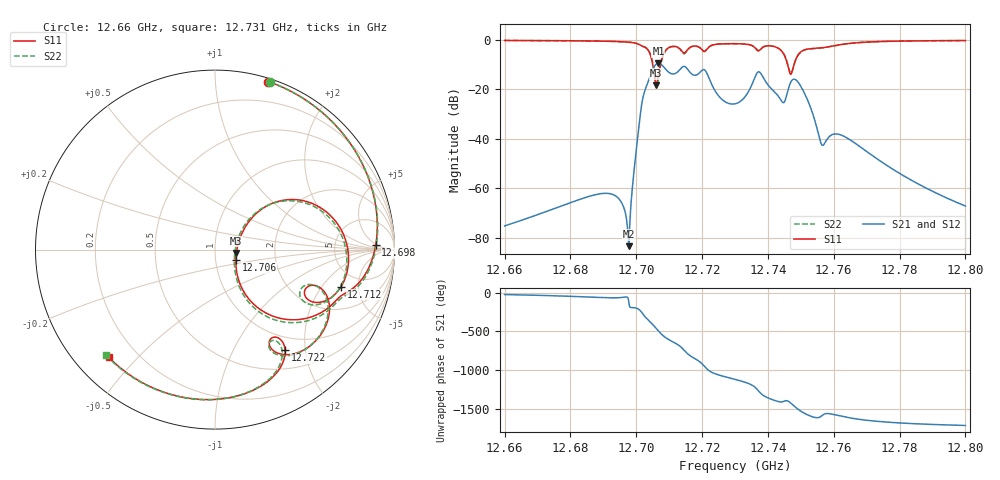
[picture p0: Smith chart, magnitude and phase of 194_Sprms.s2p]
! TOUCHSTONE file generated by CST MICROWAVE STUDIO
! Date and time: Wed Jul 31 20:44:03 2024
! Project name: WaveGuide_BPF-Ver4.1_U-shape_Ku_T3_C4_CWA_2.cst
! Parameters = {cavity_h=16; cavity_l0=10; cavity_l1=15.1944; cavity_l2=16.8119; cavity_l3=17.1399; cavity_l4=17.2427; cavity_l5=17.1623; cavity_l6=17.6262; cavity_r=2.5; cavity_screw_l=0.5; cavity_screw_r=1.5; cavity_w=8; iris_h00=0; iris_h01=8.8237; iris_h112=0; iris_h12=5.5867; iris_h211=3.6587; 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
! Header version: 2018
! Port assignment regex: !\s*Touchstone port\s*([0-9]+)\s*=\s*(CST MWS port|CST DS port)\s*([0-9]+|Zmin|Zmax)\s*\(\"(.*)\"\)(\s*mode\s*([0-9]+))?.*
! Touchstone port assignment:
! Touchstone port 1 = CST MWS port 1 ("")
! Touchstone port 2 = CST MWS port 2 ("")
# GHz S RI R 50
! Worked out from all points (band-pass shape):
!   5001 points, 12.66 GHz to 12.8 GHz, reference 50 ohm
!   highest |S21| = -9.39 dB at 12.707 GHz (marker M1); lowest = -83.5 dB at 12.698 GHz (marker M2)
!   |S21| within 3 dB of the highest: 12.70483 GHz to 12.70934 GHz (4.513 MHz wide, 0.0355 % of centre); 12.71295 GHz to 12.71592 GHz (2.972 MHz wide, 0.0234 % of centre) (the widest 2 of 3)
!   lowest |S11| = -18.4 dB at 12.706 GHz (marker M3), VSWR 1.27, Z = 63.4 - j2.5 ohm
!   |S11| at or under -10 dB: 12.70503 GHz to 12.70726 GHz (2.235 MHz wide, 0.0176 % of centre); 12.746 GHz to 12.74792 GHz (1.918 MHz wide, 0.015 % of centre)
!   |S22| runs from -19.1 to -0.2 dB; largest |S21 - S12| = 1e-09
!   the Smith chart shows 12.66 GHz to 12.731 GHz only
!   S11 on the Smith chart (normalised r, x): 12.66 GHz: 0.03, +1.37; 12.698 GHz: 17, +4; 12.706 GHz: 1.25, -0.15; 12.712 GHz: 3.54, -3.15; 12.722 GHz: 0.78, -1.63; 12.731 GHz: 0.10, -0.41
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12.66  0.2972 0.9362  0.00016 -6.3e-05  0.00016 -6.3e-05  0.3062 0.9332
12.68335  0.6864 0.6766  0.000395 -0.000465  0.000395 -0.000465  0.6961 0.6663
12.69772  0.9023 0.0825  -3.37e-05 -5.79e-05  -3.37e-05 -5.79e-05  0.9038 0.063
12.69844  0.8953 0.025  -0.000513 9.14e-05  -0.000513 9.14e-05  0.8958 0.00548
12.7018  0.709 -0.2526  -0.0084 0.0567  -0.0084 0.0567  0.7071 -0.268
12.70589  0.116 -0.0578  -0.0167 -0.3178  -0.0167 -0.3178  0.1098 -0.1068
12.70606  0.1189 -0.0194  -0.064 -0.3194  -0.064 -0.3194  0.1075 -0.0688
12.70668  0.1592 0.1089  -0.2234 -0.2551  -0.2234 -0.2551  0.1302 0.067
12.70673  0.165 0.1196  -0.235 -0.2446  -0.235 -0.2446  0.1348 0.0789
12.71225  0.7023 -0.2065  0.1107 0.1877  0.1107 0.1877  0.6881 -0.2234
12.72174  0.3904 -0.5608  0.0189 0.1929  0.0189 0.1929  0.3751 -0.58
12.73  -0.5199 -0.6651  0.0388 -0.0334  0.0388 -0.0334  -0.5352 -0.6558
12.73078  -0.592 -0.5998  0.0344 -0.0406  0.0344 -0.0406  -0.6052 -0.5899
12.73728  -0.6086 0.0173  -0.218 0.0658  -0.218 0.0658  -0.6191 0.0249
12.74352  -0.149 0.6396  0.0594 0.0318  0.0594 0.0318  -0.1524 0.643
12.74781  -0.1892 -0.2307  0.1508 -0.0567  0.1508 -0.0567  -0.172 -0.2386
12.75005  -0.5023 0.2896  -0.00921 -0.1138  -0.00921 -0.1138  -0.508 0.2718
12.75335  0.154 0.6544  -0.0349 -0.0106  -0.0349 -0.0106  0.1437 0.6526
12.75744  0.7114 -0.0435  -0.00505 -0.00693  -0.00505 -0.00693  0.7065 -0.0531
12.76282  0.1788 -0.8026  -0.011 -0.00338  -0.011 -0.00338  0.1556 -0.8075
12.77668  -0.8336 -0.441  -0.00152 0.00229  -0.00152 0.00229  -0.843 -0.4246
12.8  -0.9581 0.1971  6.15e-05 0.000431  6.15e-05 0.000431  -0.956 0.2084
